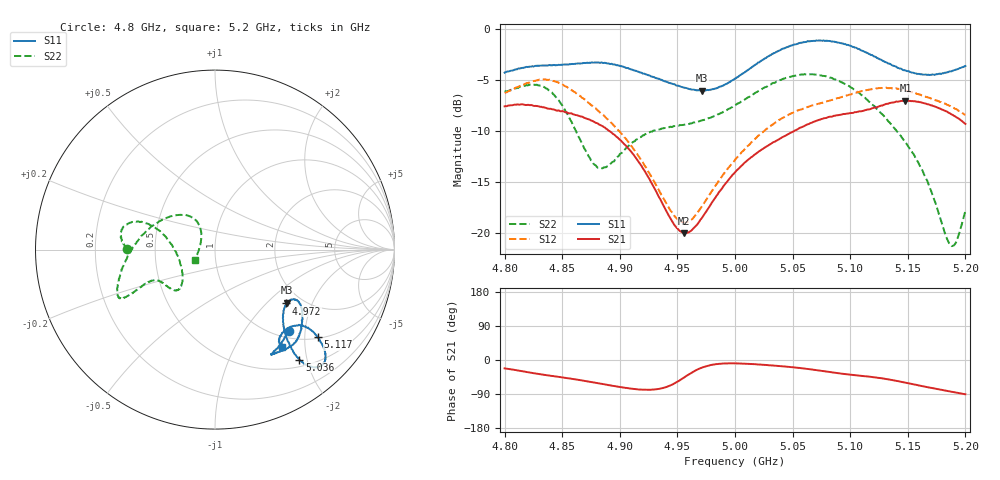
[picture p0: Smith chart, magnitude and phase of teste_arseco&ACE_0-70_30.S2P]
! Network Analyzer HP8722D
! Hewlett-Packard
! Data name: Linha & Wilkinson
! Saver's name: Rodrigo Anjos
! Comments: Teste da utilização de aquisição
! continua pelo VNA HP8722D
! Time and date: 8/5/2025 13:00
!  Frequency  S11  S21  S12  S22
# HZ  S  MA R 50
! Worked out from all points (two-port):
!   401 points, 4.8 GHz to 5.2 GHz, reference 50 ohm
!   highest |S21| = -7.04 dB at 5.148 GHz (marker M1); lowest = -20.0 dB at 4.956 GHz (marker M2)
!   |S21| within 3 dB of the highest: start of sweep to 4.891 GHz; 5.051 GHz to end of sweep
!   lowest |S11| = -6.1 dB at 4.971 GHz (marker M3), VSWR 2.98, Z = 84.1 - j66.1 ohm
!   |S11| at or under -10 dB: nowhere
!   |S22| runs from -21.3 to -4.4 dB; largest |S21 - S12| = 0.95
!   S11 on the Smith chart (normalised r, x): 4.8 GHz: 1.14, -1.64; 4.972 GHz: 1.66, -1.33; 5.036 GHz: 0.62, -1.87; 5.117 GHz: 1.03, -2.32; 5.2 GHz: 0.82, -1.57
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4.8e9  0.6105 -47.8  0.4172 -22.1  0.4847 -175.8  0.4922 179.9
4.823e9  0.6531 -59.4  0.4234 -33.6  0.55 175.9  0.5317 170.2
4.837e9  0.6617 -61.7  0.4072 -40.3  0.5628 167.3  0.5085 163.7
4.85e9  0.6673 -60.2  0.3951 -45.9  0.5359 159.2  0.422 159.2
4.867e9  0.6783 -54.9  0.3714 -53.8  0.4604 150.7  0.276 166.8
4.886e9  0.6805 -48.2  0.3303 -63.7  0.3766 144.0  0.2095 -158.3
4.91e9  0.6326 -40.0  0.2493 -75.6  0.2665 137.6  0.2744 -133.2
4.934e9  0.5696 -33.0  0.1494 -76.3  0.1618 141.3  0.3212 -135.3
4.956e9  0.5149 -32.5  0.09953 -45.6  0.1122 172.6  0.339 -144.7
4.971e9  0.4974 -36.5  0.1175 -20.6  0.1341 -162.2  0.3557 -150.4
4.972e9  0.4986 -37.0  0.1199 -19.2  0.1367 -161.1  0.3568 -150.7
5e9  0.571 -47.9  0.1977 -8.8  0.2279 -146.8  0.4223 -153.8
5.036e9  0.7724 -52.4  0.283 -15.4  0.3489 -147.5  0.5521 -152.0
5.067e9  0.8727 -48.2  0.3474 -25.3  0.4219 -154.4  0.5995 -154.9
5.095e9  0.8429 -43.3  0.3824 -37.0  0.4679 -162.4  0.5384 -166.3
5.117e9  0.7516 -40.4  0.4034 -44.1  0.5045 -172.5  0.4374 174.3
5.134e9  0.6758 -40.2  0.4324 -51.6  0.5121 177.3  0.3487 153.2
5.148e9  0.6262 -42.6  0.4446 -59.8  0.498 169.4  0.277 135.6
5.165e9  0.5973 -48.1  0.4312 -70.5  0.4664 161.5  0.1884 122.8
5.187e9  0.6195 -54.7  0.3842 -83.3  0.4186 153.6  0.08686 158.8
5.192e9  0.6328 -55.5  0.3691 -85.9  0.405 152.0  0.08987 -178.3
5.2e9  0.6582 -55.7  0.3422 -90.5  0.3786 149.4  0.1282 -152.2
